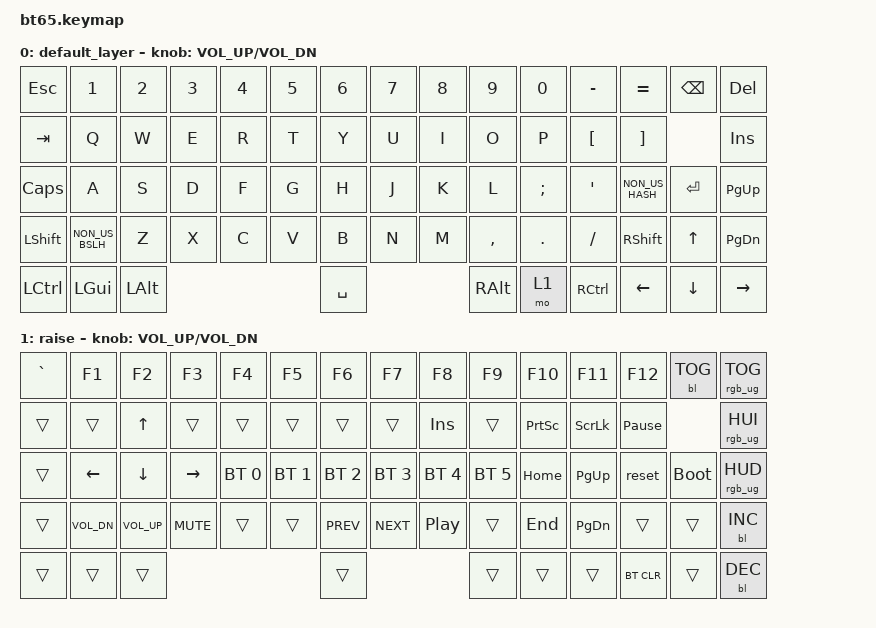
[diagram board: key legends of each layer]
#include <behaviors.dtsi>
#include <dt-bindings/zmk/keys.h>
#include <dt-bindings/zmk/bt.h>
#include <dt-bindings/zmk/rgb.h>
#include <dt-bindings/zmk/backlight.h>
#include <dt-bindings/zmk/ext_power.h>


/ {
	keymap {
		compatible = "zmk,keymap";

		default_layer {
				// ------------------------------------------------------------------------------------------------------------------------------------------------------------------------------------------------------------------------------------------------------
				// |	ESC		|		1		|		2		|		3		|		4		|		5		|		6		|		7		|		8		|		9		|		0		|		?		|		\		|		BKSP		|		DEL			|
				// |	TAB		|		Q		|		W		|		E		|		R		|		T		|		Y		|		U		|		I		|		O		|		P		|		Å		|		^		|					|		INS			|
				// |	CAPS	|		A		|		S		|		D		|		F		|		G		|		H		|		J		|		K		|		L		|		Ø		|		Æ		|		*		|		ENTER		|		PGUP		|
				// |	SHIFT	|		<		|		Z		|		X		|		C		|		V		|		B		|		N		|		M		|		,		|		.		|		-		|		SHIFT	|		UP			|		PGDN		|
				// |	CTL		|		WIN		|		ALT		|												SPACE											|		ALT		|		fn		|	LCTRL		|		LEFT	|		DOWN		|		RIGHT		|
				// ------------------------------------------------------------------------------------------------------------------------------------------------------------------------------------------------------------------------------------------------------
			bindings = <

					&kp ESC		&kp N1			&kp N2			&kp N3			&kp N4			&kp N5			&kp N6			&kp N7			&kp N8			&kp N9			&kp N0			&kp MINUS		&kp EQUAL		&kp BSPC			&kp DEL
					&kp TAB		&kp Q			&kp W			&kp E			&kp R			&kp T			&kp Y			&kp U			&kp I			&kp O			&kp P			&kp LBKT		&kp RBKT							&kp INS
					&kp CLCK	&kp A			&kp S			&kp D			&kp F			&kp G			&kp H			&kp J			&kp K			&kp L			&kp SEMI		&kp SQT			&kp NON_US_HASH	&kp RET				&kp PG_UP
					&kp LSHFT	&kp NON_US_BSLH	&kp Z			&kp X			&kp C			&kp V			&kp B			&kp N			&kp M			&kp COMMA		&kp DOT			&kp FSLH		&kp RSHFT		&kp UP				&kp PG_DN
					&kp LCTRL	&kp LGUI		&kp LALT														&kp SPACE										&kp RALT		&mo 1			&kp RCTRL		&kp LEFT		&kp DOWN			&kp RIGHT
			>;
			sensor-bindings = <&inc_dec_kp C_VOL_UP C_VOL_DN>;
		};
		raise {
			bindings = <
					&kp GRAVE	&kp F1			&kp F2			&kp F3			&kp F4			&kp F5			&kp F6			&kp F7			&kp F8			&kp F9			&kp F10			&kp F11			&kp F12			&bl BL_TOG			&rgb_ug RGB_TOG
					&trans		&trans			&kp UP			&trans			&trans			&trans			&trans			&trans			&kp INS			&trans			&kp PSCRN		&kp SLCK		&kp PAUSE_BREAK						&rgb_ug RGB_HUI
					&trans		&kp LEFT		&kp DOWN		&kp RIGHT		&bt BT_SEL 0	&bt BT_SEL 1	&bt BT_SEL 2	&bt BT_SEL 3	&bt BT_SEL 4	&bt BT_SEL 5	&kp HOME		&kp PG_UP		&reset			&bootloader			&rgb_ug RGB_HUD
					&trans		&kp C_VOL_DN	&kp C_VOL_UP	&kp C_MUTE		&trans			&trans			&kp C_PREV		&kp C_NEXT		&kp C_PLAY_PAUSE &trans			&kp END			&kp PG_DN		&trans			&trans				&bl BL_INC
					&trans		&trans			&trans															&trans											&trans			&trans			&trans			&bt BT_CLR		&trans				&bl BL_DEC
			>;
			sensor-bindings = <&inc_dec_kp C_VOL_UP C_VOL_DN>;
		};
	};
};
